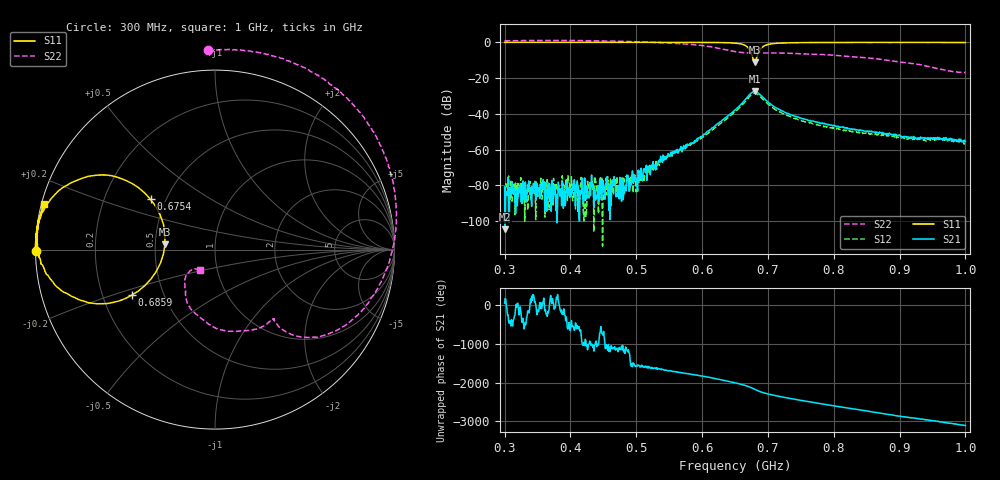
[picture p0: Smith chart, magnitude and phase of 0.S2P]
! C:\Users\rflab\Downloads\q2\0.S2P
! Touchstone 1.1 file saved by VNA.EXE V1.65 (www.ke5fx.com/gpib/readme.htm)
! 11/20/2024 11:05:23 AM
!  Source: HEWLETT PACKARD,8753D,0,6.14
!  Min freq: 3.000000E+008 Hz
!  Max freq: 1.000000E+009 Hz
!  Points: 801
!  Params: S11 S21 S12 S22
# GHZ S MA R 50
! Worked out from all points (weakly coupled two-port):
!   801 points, 300 MHz to 1 GHz, reference 50 ohm
!   highest |S21| = -27.44 dB at 679.8 MHz (marker M1); lowest = -104.4 dB at 300.9 MHz (marker M2)
!   lowest |S11| = -11.0 dB at 679.8 MHz (marker M3), VSWR 1.78, Z = 28.2 + j1.84 ohm
!   |S11| at or under -10 dB: 678.1 MHz to 681.6 MHz (3.492 MHz wide, 0.514 % of centre)
!   |S22| runs from -16.9 to 1.1 dB; largest |S21 - S12| = 0.0065
!   S11 on the Smith chart (normalised r, x): 300 MHz: 0.00, -0.00; 675.4 MHz: 0.41, +0.29; 685.9 MHz: 0.32, -0.23; 1 GHz: 0.01, +0.13
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0.3  0.9985 -179.5  9.1e-05 60.3  3.9e-05 -163.3  1.111 91.9
0.300875  0.9991 -179.6  6e-06 177.6  6.9e-05 -113.9  1.108 91.6
0.358625  0.9996 179.5  0.000146 91.4  8.4e-05 -38.3  1.128 70.8
0.41725  0.9982 178.3  7.3e-05 136.5  5.9e-05 46.0  1.118 48.2
0.4715  0.9997 177.2  5.1e-05 -48.3  7.7e-05 -64.2  1.075 25.9
0.481125  0.9995 176.8  8.7e-05 -128.8  0.000158 -51.2  1.064 21.9
0.498625  0.999 176.3  0.000149 -124.0  0.000148 -113.1  1.04 14.3
0.51  0.9992 176.0  0.000175 -153.2  0.000133 -155.5  1.025 9.5
0.5205  0.9973 175.9  0.000273 -164.3  0.000367 -169.8  1.007 4.7
0.533625  0.9979 175.5  0.000486 156.6  0.000389 146.1  0.9841 -1.1
0.542375  0.9984 175.0  0.000628 126.9  0.000663 129.6  0.9698 -5.0
0.603625  0.9939 171.6  0.002712 -40.1  0.002513 -54.1  0.7983 -35.2
0.65  0.9524 162.3  0.0128 152.5  0.01138 145.0  0.5545 -50.4
0.668375  0.7543 146.5  0.02893 68.1  0.02527 62.6  0.5088 -49.9
0.675375  0.4552 142.0  0.0392 21.4  0.03544 15.4  0.5054 -49.8
0.67975  0.2802 173.8  0.04248 -14.1  0.03793 -20.3  0.5044 -50.3
0.685875  0.5304 -151.3  0.03757 -61.2  0.03319 -67.2  0.5046 -51.4
0.6955  0.8141 -160.2  0.02547 -115.8  0.02252 -122.1  0.5041 -53.1
0.706875  0.9177 -168.1  0.01711 -162.9  0.01515 -168.7  0.5056 -56.0
0.76725  0.9854 -179.7  0.006323 9.1  0.005335 4.1  0.4683 -76.1
0.883625  0.993 174.4  0.002789 49.9  0.002402 53.3  0.3094 -121.4
1  0.9876 165.1  0.001718 127.0  0.001345 131.5  0.1437 -126.4
